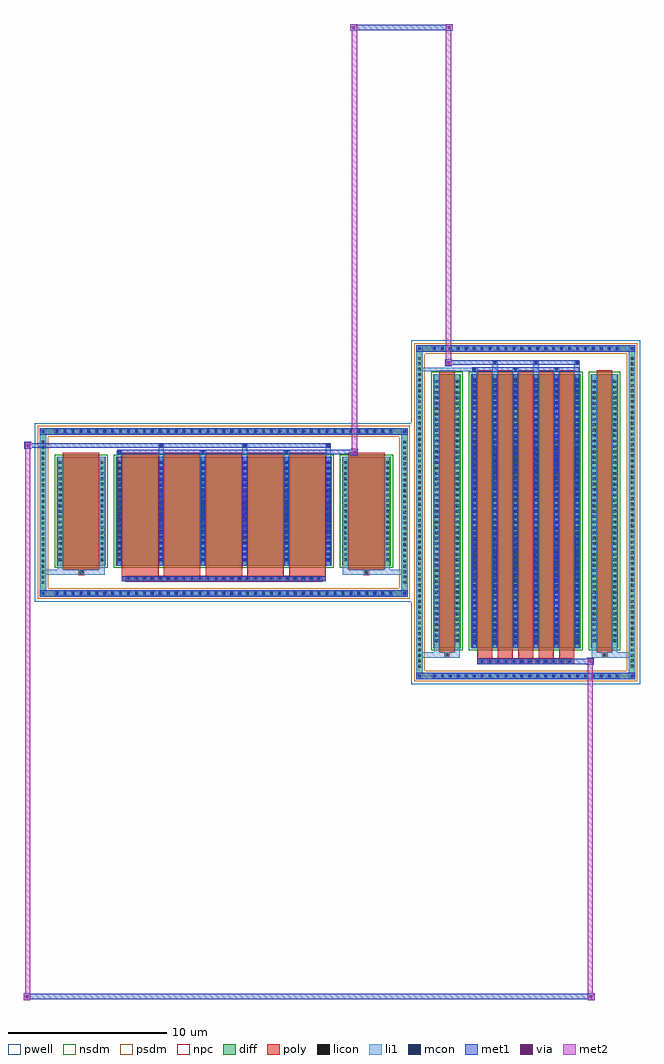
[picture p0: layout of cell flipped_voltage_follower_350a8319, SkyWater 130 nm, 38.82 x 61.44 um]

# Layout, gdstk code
import gdstk
lib = gdstk.Library(unit=1e-6, precision=5e-09)
def R(c, l, rs):  # rectangles x0, y0, x1, y1
    for r in rs: c.add(gdstk.rectangle(r[:2], r[2:], *l))
def A(c, l, x, y, w, h, nx, ny, dx, dy):  # array of equal rectangles
    R(c, l, [(x+i*dx, y+j*dy, x+i*dx+w, y+j*dy+h) for i in range(nx) for j in range(ny)])
def P(c, l, *ps):  # polygons
    for p in ps: c.add(gdstk.Polygon(p, *l))
pwell = (64, 44)
diff = (65, 20)
poly = (66, 20)
licon = (66, 44)
li1 = (67, 20)
mcon = (67, 44)
met1 = (68, 20)
via = (68, 44)
met2 = (69, 20)
nsdm = (93, 44)
psdm = (94, 20)
npc = (95, 20)

flipped_voltage_follower = lib.new_cell('flipped_voltage_follower_350a8319')
R(flipped_voltage_follower, pwell, [(11.8,-10.82,26.22,10.82), (-11.9,-5.615,11.9,5.615)])
A(flipped_voltage_follower, diff, 13.055, -10.51, 0.41, 0.41, 24, 2, 0.5, 20.61)
A(flipped_voltage_follower, diff, 12.11, -9.895, 0.41, 0.41, 1, 58, 0, 0.34)
A(flipped_voltage_follower, diff, 25.5, -9.895, 0.41, 0.41, 1, 58, 0, 0.34)
A(flipped_voltage_follower, diff, -10.705, -5.305, 0.41, 0.41, 43, 2, 0.5, 10.2)
A(flipped_voltage_follower, diff, -11.59, -4.625, 0.41, 0.41, 1, 27, 0, 0.34)
A(flipped_voltage_follower, diff, 11.18, -4.625, 0.41, 0.41, 1, 27, 0, 0.34)
R(flipped_voltage_follower, diff, [(13.055,-10.51,24.965,-10.1), (12.11,-9.895,12.52,9.895), (25.5,-9.895,25.91,9.895), (13.18,-8.565,14.92,8.705), (15.56,-8.565,22.46,8.705), (23.1,-8.565,24.84,8.705), (-10.705,-5.305,10.705,-4.895), (-11.59,-4.625,-11.18,4.625), (11.18,-4.625,11.59,4.625), (-10.52,-3.355,-7.44,3.495), (-6.8,-3.355,6.8,3.495), (7.44,-3.355,10.52,3.495), (-10.705,4.895,10.705,5.305), (13.055,10.1,24.965,10.51)])
P(flipped_voltage_follower, diff, [(11.59,5.305),(-11.59,5.305),(-11.59,-4.895),(-11.18,-4.895),(-11.18,4.895),(11.18,4.895),(11.18,-4.895),(-11.18,-4.895),(-11.59,-4.895),(-11.59,-5.305),(11.59,-5.305)],
  [(25.91,10.51),(12.11,10.51),(12.11,-10.1),(12.52,-10.1),(12.52,10.1),(25.5,10.1),(25.5,-10.1),(12.52,-10.1),(12.11,-10.1),(12.11,-10.51),(25.91,-10.51)])
A(flipped_voltage_follower, poly, 16.095, -9.55, 0.33, 0.33, 12, 1, 0.5, 0)
A(flipped_voltage_follower, poly, 15.95, -9.22, 0.96, 0.405, 5, 1, 1.29, 0)
A(flipped_voltage_follower, poly, 15.95, -8.815, 0.96, 17.77, 5, 1, 1.29, 0)
A(flipped_voltage_follower, poly, -6.165, -4.34, 0.33, 0.33, 25, 1, 0.5, 0)
A(flipped_voltage_follower, poly, -6.41, -4.01, 2.3, 0.405, 5, 1, 2.63, 0)
A(flipped_voltage_follower, poly, -6.41, -3.605, 2.3, 7.35, 5, 1, 2.63, 0)
R(flipped_voltage_follower, poly, [(15.95,-9.55,22.07,-9.22), (13.885,-9.145,14.215,-8.815), (13.885,-9.145,14.215,-8.815), (23.805,-9.145,24.135,-8.815), (23.805,-9.145,24.135,-8.815), (13.57,-8.815,14.53,8.955), (23.49,-8.815,24.45,8.955), (-6.41,-4.34,6.41,-4.01), (-9.145,-3.935,-8.815,-3.605), (-9.145,-3.935,-8.815,-3.605), (8.815,-3.935,9.145,-3.605), (8.815,-3.935,9.145,-3.605), (-10.13,-3.605,-7.83,3.745), (7.83,-3.605,10.13,3.745)])
A(flipped_voltage_follower, licon, 13.175, -10.39, 0.17, 0.17, 24, 2, 0.5, 20.61)
A(flipped_voltage_follower, licon, 12.23, -9.775, 0.17, 0.17, 1, 58, 0, 0.34)
A(flipped_voltage_follower, licon, 25.62, -9.775, 0.17, 0.17, 1, 58, 0, 0.34)
A(flipped_voltage_follower, licon, 16.175, -9.47, 0.17, 0.17, 12, 1, 0.5, 0)
A(flipped_voltage_follower, licon, 13.32, -8.175, 0.17, 0.17, 1, 49, 0, 0.34)
A(flipped_voltage_follower, licon, 14.61, -8.175, 0.17, 0.17, 1, 49, 0, 0.34)
A(flipped_voltage_follower, licon, 15.7, -8.175, 0.17, 0.17, 6, 49, 1.29, 0.34)
A(flipped_voltage_follower, licon, 23.24, -8.175, 0.17, 0.17, 1, 49, 0, 0.34)
A(flipped_voltage_follower, licon, 24.53, -8.175, 0.17, 0.17, 1, 49, 0, 0.34)
A(flipped_voltage_follower, licon, -10.585, -5.185, 0.17, 0.17, 43, 2, 0.5, 10.2)
A(flipped_voltage_follower, licon, -11.47, -4.505, 0.17, 0.17, 1, 27, 0, 0.34)
A(flipped_voltage_follower, licon, 11.3, -4.505, 0.17, 0.17, 1, 27, 0, 0.34)
A(flipped_voltage_follower, licon, -6.085, -4.26, 0.17, 0.17, 25, 1, 0.5, 0)
A(flipped_voltage_follower, licon, -10.38, -3.075, 0.17, 0.17, 1, 19, 0, 0.34)
A(flipped_voltage_follower, licon, -7.75, -3.075, 0.17, 0.17, 1, 19, 0, 0.34)
A(flipped_voltage_follower, licon, -6.66, -3.075, 0.17, 0.17, 6, 19, 2.63, 0.34)
A(flipped_voltage_follower, licon, 7.58, -3.075, 0.17, 0.17, 1, 19, 0, 0.34)
A(flipped_voltage_follower, licon, 10.21, -3.075, 0.17, 0.17, 1, 19, 0, 0.34)
R(flipped_voltage_follower, licon, [(13.965,-9.065,14.135,-8.895), (23.885,-9.065,24.055,-8.895), (-9.065,-3.855,-8.895,-3.685), (8.895,-3.855,9.065,-3.685)])
A(flipped_voltage_follower, li1, 13.095, -10.47, 0.33, 0.33, 24, 2, 0.5, 20.61)
A(flipped_voltage_follower, li1, 12.15, -9.855, 0.33, 0.33, 1, 58, 0, 0.34)
A(flipped_voltage_follower, li1, 25.54, -9.855, 0.33, 0.33, 1, 58, 0, 0.34)
A(flipped_voltage_follower, li1, 16.095, -9.55, 0.33, 0.33, 12, 1, 0.5, 0)
A(flipped_voltage_follower, li1, 15.62, -8.565, 0.33, 17.27, 6, 1, 1.29, 0)
A(flipped_voltage_follower, li1, 15.7, -8.295, 0.17, 0.17, 6, 47, 1.29, 0.36)
A(flipped_voltage_follower, li1, 15.7, -8.295, 0.17, 16.73, 6, 1, 1.29, 0)
A(flipped_voltage_follower, li1, 13.24, -8.255, 0.33, 0.33, 1, 49, 0, 0.34)
A(flipped_voltage_follower, li1, 14.53, -8.255, 0.33, 0.33, 1, 49, 0, 0.34)
A(flipped_voltage_follower, li1, 15.62, -8.255, 0.33, 0.33, 6, 49, 1.29, 0.34)
A(flipped_voltage_follower, li1, 23.16, -8.255, 0.33, 0.33, 1, 49, 0, 0.34)
A(flipped_voltage_follower, li1, 24.45, -8.255, 0.33, 0.33, 1, 49, 0, 0.34)
A(flipped_voltage_follower, li1, -10.665, -5.265, 0.33, 0.33, 43, 2, 0.5, 10.2)
A(flipped_voltage_follower, li1, -11.55, -4.585, 0.33, 0.33, 1, 27, 0, 0.34)
A(flipped_voltage_follower, li1, 11.22, -4.585, 0.33, 0.33, 1, 27, 0, 0.34)
A(flipped_voltage_follower, li1, -6.165, -4.34, 0.33, 0.33, 25, 1, 0.5, 0)
A(flipped_voltage_follower, li1, -6.74, -3.355, 0.33, 6.85, 6, 1, 2.63, 0)
A(flipped_voltage_follower, li1, -10.46, -3.155, 0.33, 0.33, 1, 19, 0, 0.34)
A(flipped_voltage_follower, li1, -7.83, -3.155, 0.33, 0.33, 1, 19, 0, 0.34)
A(flipped_voltage_follower, li1, -6.74, -3.155, 0.33, 0.33, 6, 19, 2.63, 0.34)
A(flipped_voltage_follower, li1, 7.5, -3.155, 0.33, 0.33, 1, 19, 0, 0.34)
A(flipped_voltage_follower, li1, 10.13, -3.155, 0.33, 0.33, 1, 19, 0, 0.34)
A(flipped_voltage_follower, li1, -6.66, -3.075, 0.17, 0.17, 6, 18, 2.63, 0.36)
A(flipped_voltage_follower, li1, -6.66, -3.075, 0.17, 6.29, 6, 1, 2.63, 0)
A(flipped_voltage_follower, li1, -6.74, 3.495, 0.33, 0.375, 3, 1, 5.26, 0)
A(flipped_voltage_follower, li1, -4.11, 3.495, 0.33, 0.805, 3, 1, 5.26, 0)
A(flipped_voltage_follower, li1, -6.66, 3.7, 0.17, 0.17, 3, 1, 5.26, 0)
A(flipped_voltage_follower, li1, -4.03, 4.13, 0.17, 0.17, 3, 1, 5.26, 0)
A(flipped_voltage_follower, li1, 15.62, 8.705, 0.33, 0.375, 3, 1, 2.58, 0)
A(flipped_voltage_follower, li1, 16.91, 8.705, 0.33, 0.805, 3, 1, 2.58, 0)
A(flipped_voltage_follower, li1, 15.7, 8.91, 0.17, 0.17, 3, 1, 2.58, 0)
A(flipped_voltage_follower, li1, 16.99, 9.34, 0.17, 0.17, 3, 1, 2.58, 0)
R(flipped_voltage_follower, li1, [(12.11,-10.51,12.52,-10.1), (25.5,-10.51,25.91,-10.1), (13.095,-10.47,24.925,-10.14), (12.23,-10.39,12.4,-10.22), (12.23,-10.39,12.4,-10.22), (25.62,-10.39,25.79,-10.22), (25.62,-10.39,25.79,-10.22), (12.11,-10.1,12.52,10.1), (25.5,-10.1,25.91,10.1), (12.11,-9.145,13.885,-8.815), (13.24,-9.145,13.57,-8.565), (13.24,-9.145,13.885,-8.815), (13.885,-9.145,14.215,-8.815), (14.215,-9.145,14.86,-8.815), (14.53,-9.145,14.86,-8.565), (23.16,-9.145,23.49,-8.565), (23.16,-9.145,23.805,-8.815), (23.805,-9.145,24.135,-8.815), (23.805,-9.145,25.91,-8.815), (24.135,-9.145,24.78,-8.815), (24.45,-9.145,24.78,-8.565), (13.24,-8.565,13.57,8.705), (14.53,-8.565,14.86,8.705), (23.16,-8.565,23.49,8.705), (24.45,-8.565,24.78,8.705), (-11.59,-5.305,-11.18,-4.895), (11.18,-5.305,11.59,-4.895), (-10.665,-5.265,10.665,-4.935), (-11.47,-5.185,-11.3,-5.015), (-11.47,-5.185,-11.3,-5.015), (11.3,-5.185,11.47,-5.015), (11.3,-5.185,11.47,-5.015), (-11.59,-4.895,-11.18,4.895), (11.18,-4.895,11.59,4.895), (-11.59,-3.935,-9.145,-3.605), (-10.46,-3.935,-9.145,-3.605), (-10.46,-3.935,-10.13,-3.355), (-9.145,-3.935,-8.815,-3.605), (-8.815,-3.935,-7.5,-3.605), (-7.83,-3.935,-7.5,-3.355), (7.5,-3.935,8.815,-3.605), (7.5,-3.935,7.83,-3.355), (8.815,-3.935,9.145,-3.605), (8.815,-3.935,11.59,-3.605), (9.145,-3.935,10.46,-3.605), (10.13,-3.935,10.46,-3.355), (-10.46,-3.355,-10.13,3.495), (-7.83,-3.355,-7.5,3.495), (7.5,-3.355,7.83,3.495), (10.13,-3.355,10.46,3.495), (-11.59,4.895,-11.18,5.305), (11.18,4.895,11.59,5.305), (-10.665,4.935,10.665,5.265), (-11.47,5.015,-11.3,5.185), (-11.47,5.015,-11.3,5.185), (11.3,5.015,11.47,5.185), (11.3,5.015,11.47,5.185), (15.64,8.85,15.93,9.14), (12.11,8.895,15.64,9.095), (15.7,8.91,15.87,9.08), (12.11,10.1,12.52,10.51), (25.5,10.1,25.91,10.51), (13.095,10.14,24.925,10.47), (12.23,10.22,12.4,10.39), (12.23,10.22,12.4,10.39), (25.62,10.22,25.79,10.39), (25.62,10.22,25.79,10.39)])
A(flipped_voltage_follower, mcon, 13.175, -10.39, 0.17, 0.17, 24, 2, 0.5, 20.61)
A(flipped_voltage_follower, mcon, 16.175, -9.47, 0.17, 0.17, 12, 1, 0.5, 0)
A(flipped_voltage_follower, mcon, 15.7, -8.295, 0.17, 0.17, 6, 47, 1.29, 0.36)
A(flipped_voltage_follower, mcon, -10.585, -5.185, 0.17, 0.17, 43, 2, 0.5, 10.2)
A(flipped_voltage_follower, mcon, -6.085, -4.26, 0.17, 0.17, 25, 1, 0.5, 0)
A(flipped_voltage_follower, mcon, -6.66, -3.075, 0.17, 0.17, 6, 18, 2.63, 0.36)
A(flipped_voltage_follower, mcon, -6.66, 3.7, 0.17, 0.17, 3, 1, 5.26, 0)
A(flipped_voltage_follower, mcon, -4.03, 4.13, 0.17, 0.17, 3, 1, 5.26, 0)
A(flipped_voltage_follower, mcon, 15.7, 8.91, 0.17, 0.17, 3, 1, 2.58, 0)
A(flipped_voltage_follower, mcon, 16.99, 9.34, 0.17, 0.17, 3, 1, 2.58, 0)
R(flipped_voltage_follower, mcon, [(12.23,-10.39,12.4,-10.22), (25.62,-10.39,25.79,-10.22), (-11.47,-5.185,-11.3,-5.015), (11.3,-5.185,11.47,-5.015), (-11.47,5.015,-11.3,5.185), (11.3,5.015,11.47,5.185), (15.7,8.91,15.87,9.08), (12.23,10.22,12.4,10.39), (25.62,10.22,25.79,10.39)])
A(flipped_voltage_follower, met1, 13.115, -10.45, 0.29, 0.29, 24, 2, 0.5, 20.61)
A(flipped_voltage_follower, met1, 16.115, -9.53, 0.29, 0.29, 12, 1, 0.5, 0)
A(flipped_voltage_follower, met1, 15.64, -8.565, 0.29, 17.27, 6, 1, 1.29, 0)
A(flipped_voltage_follower, met1, 15.64, -8.355, 0.29, 0.29, 6, 47, 1.29, 0.36)
A(flipped_voltage_follower, met1, -10.645, -5.245, 0.29, 0.29, 43, 2, 0.5, 10.2)
A(flipped_voltage_follower, met1, -6.145, -4.32, 0.29, 0.29, 25, 1, 0.5, 0)
A(flipped_voltage_follower, met1, -6.72, -3.355, 0.29, 6.85, 6, 1, 2.63, 0)
A(flipped_voltage_follower, met1, -6.72, -3.135, 0.29, 0.29, 6, 18, 2.63, 0.36)
A(flipped_voltage_follower, met1, -6.72, 3.64, 0.29, 0.29, 3, 1, 5.26, 0)
A(flipped_voltage_follower, met1, -4.09, 4.07, 0.29, 0.29, 3, 1, 5.26, 0)
A(flipped_voltage_follower, met1, 15.64, 8.85, 0.29, 0.29, 3, 1, 2.58, 0)
A(flipped_voltage_follower, met1, 16.93, 9.28, 0.29, 0.29, 3, 1, 2.58, 0)
R(flipped_voltage_follower, met1, [(-12.6,-30.7,-12.17,-30.27), (22.905,-30.7,23.335,-30.27), (-12.6,-30.65,23.335,-30.32), (-12.6,-30.32,-12.17,-30.27), (22.905,-30.32,23.335,-30.27), (12.11,-10.51,12.52,-10.1), (12.11,-10.51,12.52,-10.1), (12.52,-10.51,25.5,-10.1), (25.5,-10.51,25.91,-10.1), (25.5,-10.51,25.91,-10.1), (12.17,-10.45,12.46,-10.16), (25.56,-10.45,25.85,-10.16), (22.855,-9.6,23.285,-9.17), (15.95,-9.55,22.07,-9.22), (22.07,-9.55,22.855,-9.22), (-11.59,-5.305,-11.18,-4.895), (-11.59,-5.305,-11.18,-4.895), (-11.18,-5.305,11.18,-4.895), (11.18,-5.305,11.59,-4.895), (11.18,-5.305,11.59,-4.895), (-11.53,-5.245,-11.24,-4.955), (11.24,-5.245,11.53,-4.955), (-6.41,-4.34,6.41,-4.01), (8.005,3.57,8.435,4), (-6.72,3.64,6.72,3.93), (6.72,3.64,8.005,3.93), (-12.55,4,-12.12,4.43), (-12.12,4.07,-6.72,4.36), (-6.72,4.07,6.72,4.36), (-11.59,4.895,-11.18,5.305), (-11.59,4.895,-11.18,5.305), (-11.18,4.895,11.18,5.305), (11.18,4.895,11.59,5.305), (11.18,4.895,11.59,5.305), (-11.53,4.955,-11.24,5.245), (11.24,4.955,11.53,5.245), (15.64,8.85,15.93,9.14), (15.64,8.85,22.38,9.14), (13.925,9.21,14.355,9.64), (14.355,9.28,15.64,9.57), (15.64,9.28,22.38,9.57), (12.11,10.1,12.52,10.51), (12.11,10.1,12.52,10.51), (12.52,10.1,25.5,10.51), (25.5,10.1,25.91,10.51), (25.5,10.1,25.91,10.51), (12.17,10.16,12.46,10.45), (25.56,10.16,25.85,10.45), (7.955,30.31,8.385,30.74), (13.975,30.31,14.405,30.74), (7.955,30.36,14.405,30.69), (7.955,30.69,8.385,30.74), (13.975,30.69,14.405,30.74)])
R(flipped_voltage_follower, via, [(-12.46,-30.56,-12.31,-30.41), (23.045,-30.56,23.195,-30.41), (22.995,-9.46,23.145,-9.31), (8.145,3.71,8.295,3.86), (-12.41,4.14,-12.26,4.29), (14.065,9.35,14.215,9.5), (8.095,30.45,8.245,30.6), (14.115,30.45,14.265,30.6)])
R(flipped_voltage_follower, met2, [(-12.6,-30.7,-12.17,-30.27), (-12.5,-30.7,-12.17,4.05), (22.905,-30.7,23.335,-30.27), (22.905,-30.7,23.235,-9.55), (-12.55,-30.65,-12.22,-30.32), (22.955,-30.65,23.285,-30.32), (22.905,-9.55,23.235,-9.22), (8.055,3.62,8.385,3.95), (8.055,3.95,8.385,30.74), (-12.5,4.05,-12.17,4.38), (13.975,9.26,14.305,9.59), (13.975,9.59,14.305,30.74), (7.955,30.31,8.385,30.74), (13.975,30.31,14.405,30.74), (8.005,30.36,8.335,30.69), (14.025,30.36,14.355,30.69)])
R(flipped_voltage_follower, nsdm, [(13.05,-8.695,15.05,8.835), (15.43,-8.695,22.59,8.835), (22.97,-8.695,24.97,8.835), (-10.65,-3.485,-7.31,3.625), (-6.93,-3.485,6.93,3.625), (7.31,-3.485,10.65,3.625)])
P(flipped_voltage_follower, psdm, [(11.72,5.435),(-11.72,5.435),(-11.72,-4.765),(-11.05,-4.765),(-11.05,4.765),(11.05,4.765),(11.05,-4.765),(-11.05,-4.765),(-11.72,-4.765),(-11.72,-5.435),(11.72,-5.435)],
  [(26.04,10.64),(11.98,10.64),(11.98,-9.97),(12.65,-9.97),(12.65,9.97),(25.37,9.97),(25.37,-9.97),(12.65,-9.97),(11.98,-9.97),(11.98,-10.64),(26.04,-10.64)])
A(flipped_voltage_follower, npc, 16.075, -9.57, 0.37, 0.37, 12, 1, 0.5, 0)
A(flipped_voltage_follower, npc, -6.185, -4.36, 0.37, 0.37, 25, 1, 0.5, 0)
R(flipped_voltage_follower, npc, [(16.075,-9.57,16.945,-9.2), (16.075,-9.57,16.945,-9.2), (16.575,-9.57,17.445,-9.2), (16.575,-9.57,17.445,-9.2), (17.075,-9.57,17.945,-9.2), (17.075,-9.57,17.945,-9.2), (17.575,-9.57,18.445,-9.2), (17.575,-9.57,18.445,-9.2), (18.075,-9.57,18.945,-9.2), (18.075,-9.57,18.945,-9.2), (18.575,-9.57,19.445,-9.2), (18.575,-9.57,19.445,-9.2), (19.075,-9.57,19.945,-9.2), (19.075,-9.57,19.945,-9.2), (19.575,-9.57,20.445,-9.2), (19.575,-9.57,20.445,-9.2), (20.075,-9.57,20.945,-9.2), (20.075,-9.57,20.945,-9.2), (20.575,-9.57,21.445,-9.2), (20.575,-9.57,21.445,-9.2), (21.075,-9.57,21.945,-9.2), (21.075,-9.57,21.945,-9.2), (13.865,-9.165,14.235,-8.795), (23.785,-9.165,24.155,-8.795), (-6.185,-4.36,-5.315,-3.99), (-6.185,-4.36,-5.315,-3.99), (-5.685,-4.36,-4.815,-3.99), (-5.685,-4.36,-4.815,-3.99), (-5.185,-4.36,-4.315,-3.99), (-5.185,-4.36,-4.315,-3.99), (-4.685,-4.36,-3.815,-3.99), (-4.685,-4.36,-3.815,-3.99), (-4.185,-4.36,-3.315,-3.99), (-4.185,-4.36,-3.315,-3.99), (-3.685,-4.36,-2.815,-3.99), (-3.685,-4.36,-2.815,-3.99), (-3.185,-4.36,-2.315,-3.99), (-3.185,-4.36,-2.315,-3.99), (-2.685,-4.36,-1.815,-3.99), (-2.685,-4.36,-1.815,-3.99), (-2.185,-4.36,-1.315,-3.99), (-2.185,-4.36,-1.315,-3.99), (-1.685,-4.36,-0.815,-3.99), (-1.685,-4.36,-0.815,-3.99), (-1.185,-4.36,-0.315,-3.99), (-1.185,-4.36,-0.315,-3.99), (-0.685,-4.36,0.185,-3.99), (-0.685,-4.36,0.185,-3.99), (-0.185,-4.36,0.685,-3.99), (-0.185,-4.36,0.685,-3.99), (0.315,-4.36,1.185,-3.99), (0.315,-4.36,1.185,-3.99), (0.815,-4.36,1.685,-3.99), (0.815,-4.36,1.685,-3.99), (1.315,-4.36,2.185,-3.99), (1.315,-4.36,2.185,-3.99), (1.815,-4.36,2.685,-3.99), (1.815,-4.36,2.685,-3.99), (2.315,-4.36,3.185,-3.99), (2.315,-4.36,3.185,-3.99), (2.815,-4.36,3.685,-3.99), (2.815,-4.36,3.685,-3.99), (3.315,-4.36,4.185,-3.99), (3.315,-4.36,4.185,-3.99), (3.815,-4.36,4.685,-3.99), (3.815,-4.36,4.685,-3.99), (4.315,-4.36,5.185,-3.99), (4.315,-4.36,5.185,-3.99), (4.815,-4.36,5.685,-3.99), (4.815,-4.36,5.685,-3.99), (5.315,-4.36,6.185,-3.99), (5.315,-4.36,6.185,-3.99), (-9.165,-3.955,-8.795,-3.585), (8.795,-3.955,9.165,-3.585)])

lib.write_gds('flipped_voltage_follower_350a8319.gds')
